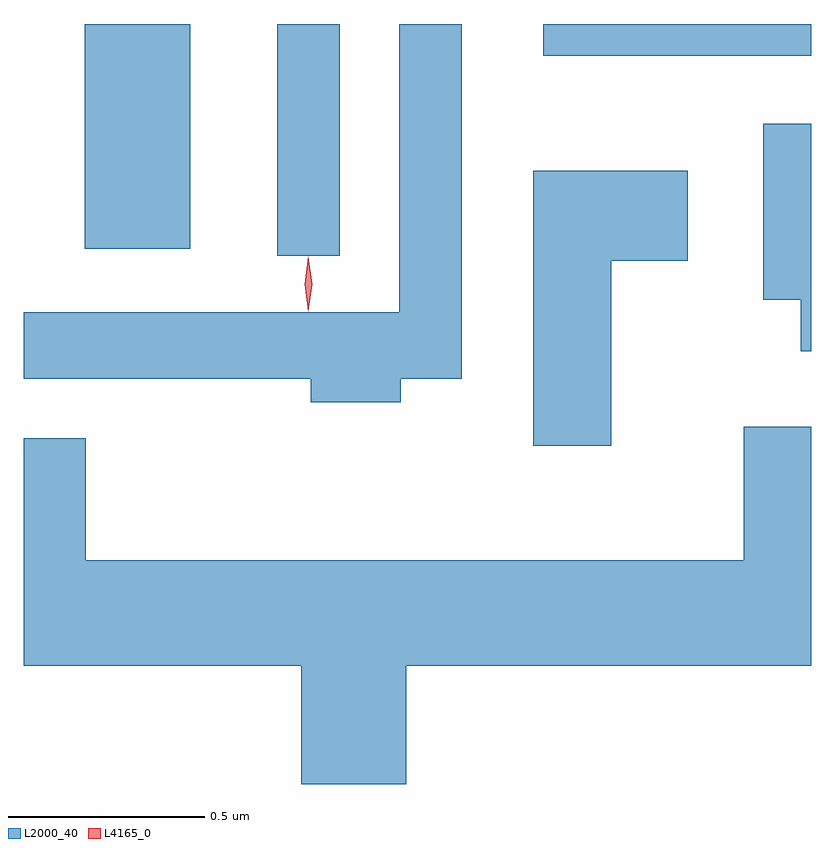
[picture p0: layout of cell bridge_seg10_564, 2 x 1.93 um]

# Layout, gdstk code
import gdstk
lib = gdstk.Library(unit=1e-6, precision=1e-09)
def R(c, l, rs):  # rectangles x0, y0, x1, y1
    for r in rs: c.add(gdstk.rectangle(r[:2], r[2:], *l))
def P(c, l, *ps):  # polygons
    for p in ps: c.add(gdstk.Polygon(p, *l))
L2000_40 = (2000, 40)
L4165_0 = (4165, 0)

bridge_seg10_564 = lib.new_cell('bridge_seg10_564')
R(bridge_seg10_564, L2000_40, [(794.436,2174.898,794.594,2175.487), (793.946,2174.916,794.214,2175.487), (795.111,2175.406,795.792,2175.487)])
P(bridge_seg10_564, L2000_40, [(794.749,2174.586),(794.904,2174.586),(794.904,2175.487),(794.746,2175.487),(794.746,2174.754),(793.792,2174.754),(793.792,2174.586),(794.521,2174.586),(794.521,2174.526),(794.749,2174.526)],
  [(795.792,2175.234),(795.671,2175.234),(795.671,2174.786),(795.766,2174.786),(795.766,2174.656),(795.792,2174.656)],
  [(795.284,2174.886),(795.479,2174.886),(795.479,2175.114),(795.086,2175.114),(795.086,2174.416),(795.284,2174.416)],
  [(794.764,2173.856),(795.792,2173.856),(795.792,2174.464),(795.621,2174.464),(795.621,2174.124),(793.949,2174.124),(793.949,2174.434),(793.792,2174.434),(793.792,2173.856),(794.496,2173.856),(794.496,2173.556),(794.764,2173.556)])
P(bridge_seg10_564, L4165_0, [(794.514,2174.757),(794.505,2174.826),(794.514,2174.896),(794.515,2174.896),(794.515,2174.896),(794.525,2174.826),(794.515,2174.757),(794.515,2174.757)],
  [(794.515,2174.759),(794.514,2174.76),(794.505,2174.826),(794.514,2174.892),(794.515,2174.893),(794.515,2174.892),(794.525,2174.826),(794.515,2174.76)])

lib.write_gds('bridge_seg10_564.gds')
